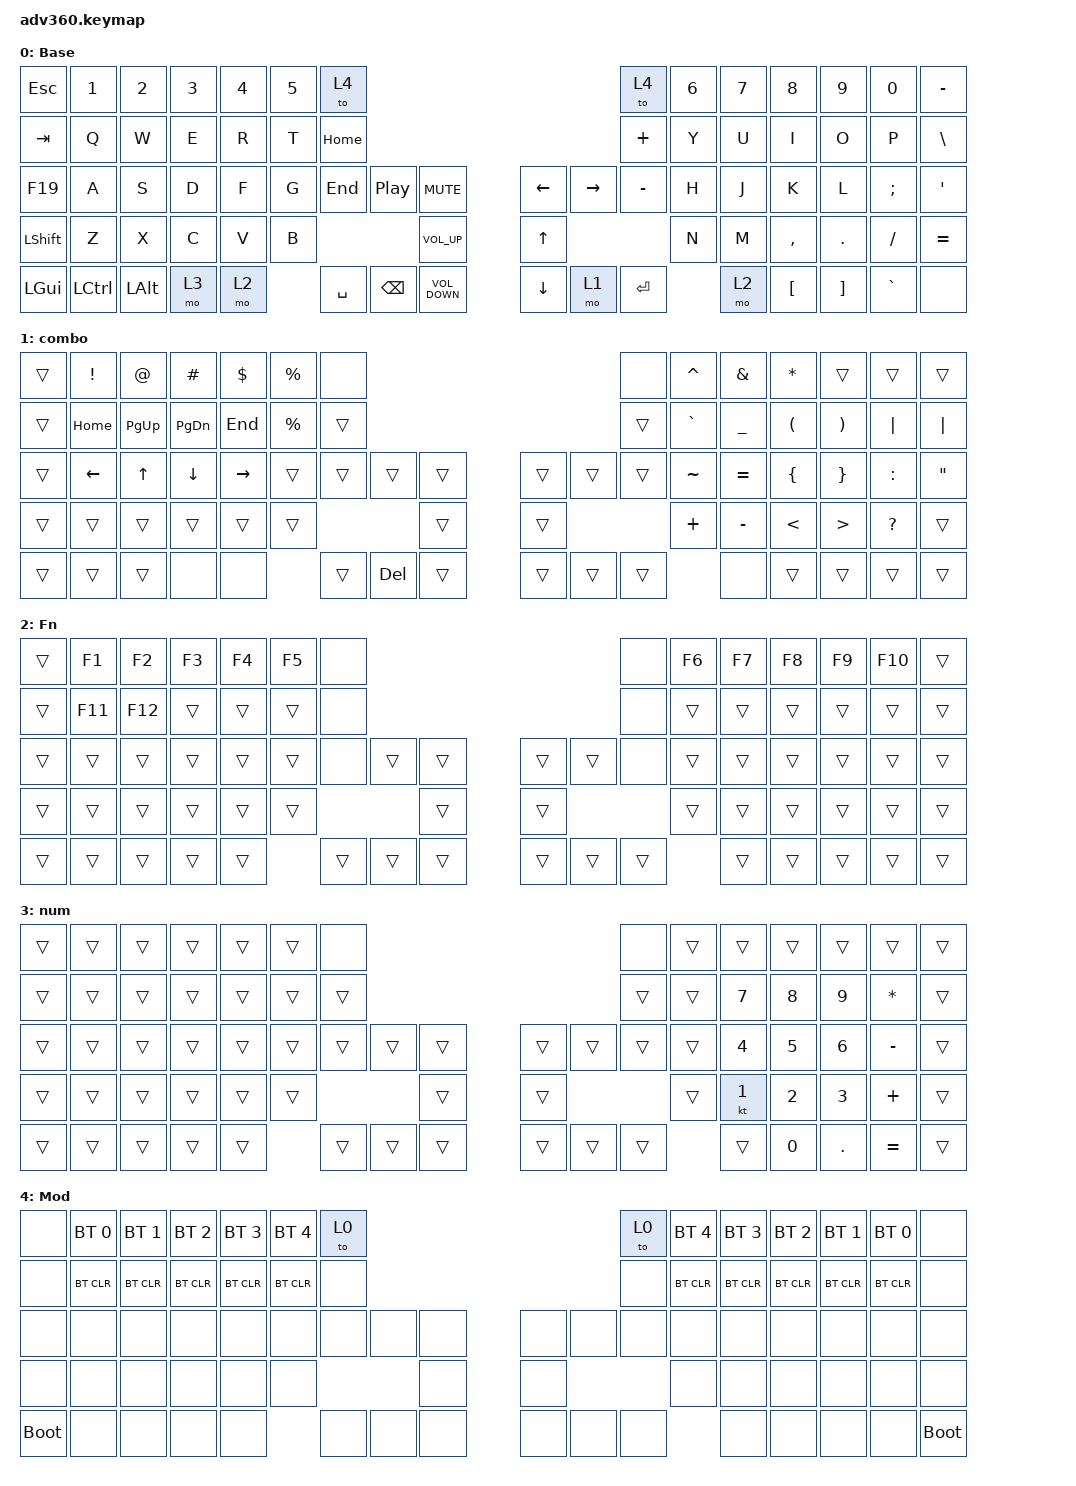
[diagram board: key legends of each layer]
#include <dt-bindings/zmk/stp.h>
#include <behaviors.dtsi>
#include <dt-bindings/zmk/bt.h>
#include <dt-bindings/zmk/keys.h>

/ {
    behaviors {
        #include "macros.dtsi"
      #include "version.dtsi"

        hm: homerow_mods {
            compatible = "zmk,behavior-hold-tap";
            label = "HOMEROW_MODS";
            #binding-cells = <2>;
            tapping-term-ms = <200>;
            quick_tap_ms = <175>;
            flavor = "tap-preferred";
            bindings = <&kp>, <&kp>;
        };
    };

    keymap {
        compatible = "zmk,keymap";

        base {
            display-name = "Base";
            bindings = <
&kp ESC    &kp N1     &kp N2    &kp N3  &kp N4  &kp N5  &to 4                                                                    &to 4      &kp N6  &kp N7  &kp N8     &kp N9    &kp N0     &kp MINUS
&kp TAB    &kp Q      &kp W     &kp E   &kp R   &kp T   &kp HOME                                                                 &kp PLUS   &kp Y   &kp U   &kp I      &kp O     &kp P      &kp BSLH
&kp F19    &kp A      &kp S     &kp D   &kp F   &kp G   &kp END    &kp C_PLAY_PAUSE  &kp C_MUTE             &kp LEFT  &kp RIGHT  &kp MINUS  &kp H   &kp J   &kp K      &kp L     &kp SEMI   &kp SQT
&kp LSHFT  &kp Z      &kp X     &kp C   &kp V   &kp B                                &kp C_VOLUME_UP        &kp UP                          &kp N   &kp M   &kp COMMA  &kp DOT   &kp FSLH   &kp EQUAL
&kp LGUI   &kp LCTRL  &kp LALT  &mo 3   &mo 2           &kp SPACE  &kp BSPC          &kp C_VOLUME_DOWN      &kp DOWN  &mo 1      &kp ENTER          &mo 2   &kp LBKT   &kp RBKT  &kp GRAVE  &none
            >;
        };

        combo {
            bindings = <
&trans  &kp EXCLAMATION  &kp AT_SIGN  &kp HASH       &kp DOLLAR  &kp PERCENT  &none                                           &none   &kp CARET  &kp AMPERSAND   &kp ASTERISK          &trans                 &trans        &trans
&trans  &kp HOME         &kp PAGE_UP  &kp PAGE_DOWN  &kp END     &kp PERCENT  &trans                                          &trans  &kp GRAVE  &kp UNDERSCORE  &kp LEFT_PARENTHESIS  &kp RIGHT_PARENTHESIS  &kp PIPE      &kp PIPE
&trans  &kp LEFT         &kp UP       &kp DOWN       &kp RIGHT   &trans       &trans  &trans      &trans      &trans  &trans  &trans  &kp TILDE  &kp EQUAL       &kp LEFT_BRACE        &kp RIGHT_BRACE        &kp COLON     &kp DOUBLE_QUOTES
&trans  &trans           &trans       &trans         &trans      &trans                           &trans      &trans                  &kp PLUS   &kp MINUS       &kp LESS_THAN         &kp GREATER_THAN       &kp QUESTION  &trans
&trans  &trans           &trans       &none          &none                    &trans  &kp DELETE  &trans      &trans  &trans  &trans             &none           &trans                &trans                 &trans        &trans
            >;
        };

        fn {
            display-name = "Fn";
            bindings = <
&trans  &kp F1   &kp F2   &kp F3  &kp F4  &kp F5  &none                                       &none   &kp F6  &kp F7  &kp F8  &kp F9  &kp F10  &trans
&trans  &kp F11  &kp F12  &trans  &trans  &trans  &none                                       &none   &trans  &trans  &trans  &trans  &trans   &trans
&trans  &trans   &trans   &trans  &trans  &trans  &none   &trans  &trans      &trans  &trans  &none   &trans  &trans  &trans  &trans  &trans   &trans
&trans  &trans   &trans   &trans  &trans  &trans                  &trans      &trans                  &trans  &trans  &trans  &trans  &trans   &trans
&trans  &trans   &trans   &trans  &trans          &trans  &trans  &trans      &trans  &trans  &trans          &trans  &trans  &trans  &trans   &trans
            >;
        };

        num {
            bindings = <
&trans  &trans  &trans  &trans  &trans  &trans  &none                                       &none   &trans  &trans  &trans  &trans   &trans        &trans
&trans  &trans  &trans  &trans  &trans  &trans  &trans                                      &trans  &trans  &kp N7  &kp N8  &kp N9   &kp ASTERISK  &trans
&trans  &trans  &trans  &trans  &trans  &trans  &trans  &trans  &trans      &trans  &trans  &trans  &trans  &kp N4  &kp N5  &kp N6   &kp MINUS     &trans
&trans  &trans  &trans  &trans  &trans  &trans                  &trans      &trans                  &trans  &kt N1  &kp N2  &kp N3   &kp PLUS      &trans
&trans  &trans  &trans  &trans  &trans          &trans  &trans  &trans      &trans  &trans  &trans          &trans  &kp N0  &kp DOT  &kp EQUAL     &trans
            >;
        };

        config {
            display-name = "Mod";
            bindings = <
&none        &bt BT_SEL 0  &bt BT_SEL 1  &bt BT_SEL 2  &bt BT_SEL 3  &bt BT_SEL 4  &to 0                                  &to 0  &bt BT_SEL 4  &bt BT_SEL 3  &bt BT_SEL 2  &bt BT_SEL 1  &bt BT_SEL 0  &none
&none        &bt BT_CLR    &bt BT_CLR    &bt BT_CLR    &bt BT_CLR    &bt BT_CLR    &none                                  &none  &bt BT_CLR    &bt BT_CLR    &bt BT_CLR    &bt BT_CLR    &bt BT_CLR    &none
&none        &none         &none         &none         &none         &none         &none  &none  &none      &none  &none  &none  &none         &none         &none         &none         &none         &none
&none        &none         &none         &none         &none         &none                       &none      &none                &none         &none         &none         &none         &none         &none
&bootloader  &none         &none         &none         &none                       &none  &none  &none      &none  &none  &none                &none         &none         &none         &none         &bootloader
            >;
        };
    };
};
